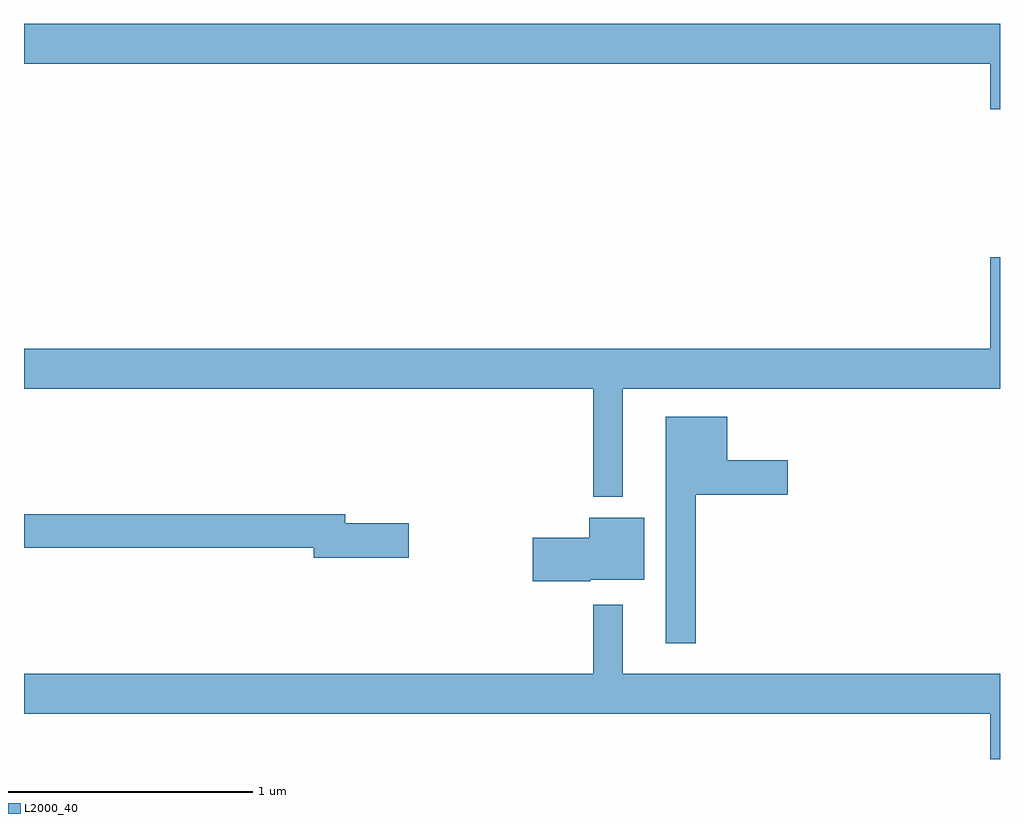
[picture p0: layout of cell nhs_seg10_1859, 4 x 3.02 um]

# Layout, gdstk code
import gdstk
lib = gdstk.Library(unit=1e-6, precision=1e-09)
def P(c, l, *ps):  # polygons
    for p in ps: c.add(gdstk.Polygon(p, *l))
L2000_40 = (2000, 40)

nhs_seg10_1859 = lib.new_cell('nhs_seg10_1859')
P(nhs_seg10_1859, L2000_40, [(213,1269.844),(209,1269.844),(209,1269.68),(212.96,1269.68),(212.96,1269.492),(213,1269.492)],
  [(211.453,1268.348),(213,1268.348),(213,1268.887),(212.96,1268.887),(212.96,1268.512),(209,1268.512),(209,1268.348),(211.332,1268.348),(211.332,1267.904),(211.453,1267.904)],
  [(211.753,1267.913),(212.131,1267.913),(212.131,1268.055),(211.882,1268.055),(211.882,1268.233),(211.631,1268.233),(211.631,1267.305),(211.753,1267.305)],
  [(210.577,1267.796),(210.316,1267.796),(210.316,1267.832),(209,1267.832),(209,1267.696),(210.188,1267.696),(210.188,1267.654),(210.577,1267.654)],
  [(211.32,1267.565),(211.543,1267.565),(211.543,1267.819),(211.316,1267.819),(211.316,1267.736),(211.086,1267.736),(211.086,1267.558),(211.32,1267.558)],
  [(213,1267.18),(211.453,1267.18),(211.453,1267.462),(211.332,1267.462),(211.332,1267.18),(209,1267.18),(209,1267.016),(212.96,1267.016),(212.96,1266.828),(213,1266.828)])

lib.write_gds('nhs_seg10_1859.gds')
